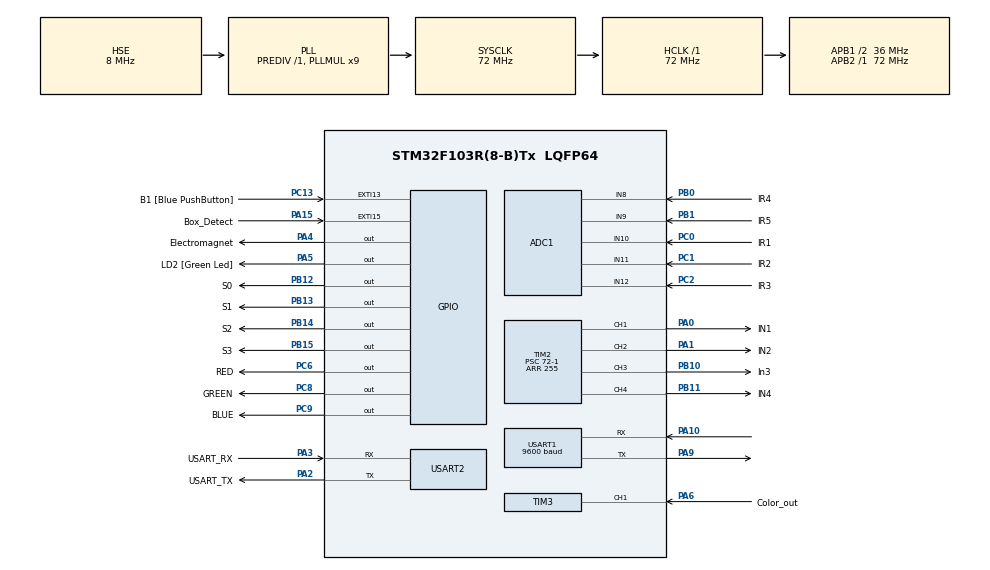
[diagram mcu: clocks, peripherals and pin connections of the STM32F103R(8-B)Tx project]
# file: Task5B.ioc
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ADC1.Channel-0\#ChannelRegularConversion=ADC_CHANNEL_12
ADC1.Channel-1\#ChannelRegularConversion=ADC_CHANNEL_11
ADC1.Channel-2\#ChannelRegularConversion=ADC_CHANNEL_10
ADC1.Channel-3\#ChannelRegularConversion=ADC_CHANNEL_8
ADC1.Channel-4\#ChannelRegularConversion=ADC_CHANNEL_9
ADC1.ContinuousConvMode=ENABLE
ADC1.NbrOfConversion=5
ADC1.NbrOfConversionFlag=1
ADC1.Rank-0\#ChannelRegularConversion=1
ADC1.Rank-1\#ChannelRegularConversion=2
ADC1.Rank-2\#ChannelRegularConversion=3
ADC1.Rank-3\#ChannelRegularConversion=4
ADC1.Rank-4\#ChannelRegularConversion=5
ADC1.SamplingTime-0\#ChannelRegularConversion=ADC_SAMPLETIME_55CYCLES_5
ADC1.SamplingTime-1\#ChannelRegularConversion=ADC_SAMPLETIME_55CYCLES_5
ADC1.SamplingTime-2\#ChannelRegularConversion=ADC_SAMPLETIME_55CYCLES_5
ADC1.SamplingTime-3\#ChannelRegularConversion=ADC_SAMPLETIME_55CYCLES_5
ADC1.SamplingTime-4\#ChannelRegularConversion=ADC_SAMPLETIME_55CYCLES_5
ADC1.master=1
Dma.ADC1.0.Direction=DMA_PERIPH_TO_MEMORY
Dma.ADC1.0.Instance=DMA1_Channel1
Dma.ADC1.0.MemDataAlignment=DMA_MDATAALIGN_HALFWORD
Dma.ADC1.0.MemInc=DMA_MINC_ENABLE
Dma.ADC1.0.Mode=DMA_CIRCULAR
Dma.ADC1.0.PeriphDataAlignment=DMA_PDATAALIGN_HALFWORD
Dma.ADC1.0.PeriphInc=DMA_PINC_DISABLE
Dma.ADC1.0.Priority=DMA_PRIORITY_LOW
Dma.Request0=ADC1
Mcu.Family=STM32F1
Mcu.Name=STM32F103R(8-B)Tx
Mcu.Package=LQFP64
NVIC.ADC1_2_IRQn=true\:0\:0\:false\:false\:true\:true\:true\:true
NVIC.DMA1_Channel1_IRQn=true\:0\:0\:false\:false\:true\:false\:true\:true
NVIC.EXTI15_10_IRQn=true\:1\:0\:true\:false\:true\:true\:true\:true
NVIC.PriorityGroup=NVIC_PRIORITYGROUP_4
NVIC.TIM3_IRQn=true\:0\:0\:false\:false\:true\:true\:true\:true
NVIC.USART1_IRQn=true\:1\:0\:true\:false\:true\:true\:true\:true
PA0-WKUP.GPIO_Label=IN1
PA0-WKUP.Signal=S_TIM2_CH1_ETR
PA1.GPIO_Label=IN2
PA1.Signal=S_TIM2_CH2
PA10.Mode=Asynchronous
PA10.Signal=USART1_RX
PA13.GPIO_Label=TMS
PA13.Mode=Serial_Wire
PA13.Signal=SYS_JTMS-SWDIO
PA14.GPIO_Label=TCK
PA14.Mode=Serial_Wire
PA14.Signal=SYS_JTCK-SWCLK
PA15.GPIO_Label=Box_Detect
PA15.GPIO_ModeDefaultEXTI=GPIO_MODE_IT_FALLING
PA15.Signal=GPXTI15
PA2.GPIO_Label=USART_TX
PA2.GPIO_Mode=GPIO_MODE_AF_PP
PA2.GPIO_PuPd=GPIO_NOPULL
PA2.GPIO_Speed=GPIO_SPEED_FREQ_LOW
PA2.Mode=Asynchronous
PA2.Signal=USART2_TX
PA3.GPIO_Label=USART_RX
PA3.GPIO_Mode=GPIO_MODE_AF_PP
PA3.GPIO_PuPd=GPIO_NOPULL
PA3.GPIO_Speed=GPIO_SPEED_FREQ_LOW
PA3.Mode=Asynchronous
PA3.Signal=USART2_RX
PA4.GPIO_Label=Electromagnet
PA4.Signal=GPIO_Output
PA5.GPIO_Label=LD2 [Green Led]
PA5.GPIO_ModeDefaultOutputPP=GPIO_MODE_OUTPUT_PP
PA5.GPIO_PuPd=GPIO_NOPULL
PA5.GPIO_Speed=GPIO_SPEED_FREQ_LOW
PA5.Signal=GPIO_Output
PA6.GPIO_Label=Color_out
PA6.Signal=S_TIM3_CH1
PA9.Mode=Asynchronous
PA9.Signal=USART1_TX
PB0.GPIO_Label=IR4
PB0.Signal=ADCx_IN8
PB1.GPIO_Label=IR5
PB1.Signal=ADCx_IN9
PB10.GPIO_Label=In3
PB10.Signal=S_TIM2_CH3
PB11.GPIO_Label=IN4
PB11.Signal=S_TIM2_CH4
PB12.GPIO_Label=S0
PB12.Signal=GPIO_Output
PB13.GPIO_Label=S1
PB13.Signal=GPIO_Output
PB14.GPIO_Label=S2
PB14.Signal=GPIO_Output
PB15.GPIO_Label=S3
PB15.Signal=GPIO_Output
PB3.GPIO_Label=SWO
PB3.Signal=SYS_JTDO-TRACESWO
PC0.GPIO_Label=IR1
PC0.Signal=ADCx_IN10
PC1.GPIO_Label=IR2
PC1.Signal=ADCx_IN11
PC13-TAMPER-RTC.GPIO_Label=B1 [Blue PushButton]
PC13-TAMPER-RTC.GPIO_PuPd=GPIO_NOPULL
PC13-TAMPER-RTC.Signal=GPXTI13
PC14-OSC32_IN.Mode=LSE-External-Oscillator
PC14-OSC32_IN.Signal=RCC_OSC32_IN
PC15-OSC32_OUT.Mode=LSE-External-Oscillator
PC15-OSC32_OUT.Signal=RCC_OSC32_OUT
PC2.GPIO_Label=IR3
PC2.Signal=ADCx_IN12
PC6.GPIO_Label=RED
PC6.Signal=GPIO_Output
PC8.GPIO_Label=GREEN
PC8.Signal=GPIO_Output
PC9.GPIO_Label=BLUE
PC9.Signal=GPIO_Output
PD0-OSC_IN.Mode=HSE-External-Clock-Source
PD0-OSC_IN.Signal=RCC_OSC_IN
PD1-OSC_OUT.Mode=HSE-External-Clock-Source
PD1-OSC_OUT.Signal=RCC_OSC_OUT
ProjectManager.HeapSize=0x200
ProjectManager.StackSize=0x400
ProjectManager.TargetToolchain=STM32CubeIDE
RCC.ADCPresc=RCC_ADCPCLK2_DIV6
RCC.AHBFreq_Value=72000000
RCC.APB1CLKDivider=RCC_HCLK_DIV2
RCC.APB1Freq_Value=36000000
RCC.APB1TimFreq_Value=72000000
RCC.APB2Freq_Value=72000000
RCC.APB2TimFreq_Value=72000000
RCC.HCLKFreq_Value=72000000
RCC.PLLMUL=RCC_PLL_MUL9
RCC.PLLSourceVirtual=RCC_PLLSOURCE_HSE
RCC.RTCClockSelection=RCC_RTCCLKSOURCE_LSE
RCC.SYSCLKFreq_VALUE=72000000
RCC.SYSCLKSource=RCC_SYSCLKSOURCE_PLLCLK
RCC.USBFreq_Value=72000000
SH.ADCx_IN10.0=ADC1_IN10,IN10
SH.ADCx_IN11.0=ADC1_IN11,IN11
SH.ADCx_IN12.0=ADC1_IN12,IN12
SH.ADCx_IN8.0=ADC1_IN8,IN8
SH.ADCx_IN9.0=ADC1_IN9,IN9
SH.S_TIM2_CH1_ETR.0=TIM2_CH1,PWM Generation1 CH1
SH.S_TIM2_CH2.0=TIM2_CH2,PWM Generation2 CH2
SH.S_TIM2_CH3.0=TIM2_CH3,PWM Generation3 CH3
SH.S_TIM2_CH4.0=TIM2_CH4,PWM Generation4 CH4
SH.S_TIM3_CH1.0=TIM3_CH1,Input_Capture1_from_TI1
TIM2.Channel-PWM\ Generation1\ CH1=TIM_CHANNEL_1
TIM2.Channel-PWM\ Generation2\ CH2=TIM_CHANNEL_2
TIM2.Channel-PWM\ Generation3\ CH3=TIM_CHANNEL_3
TIM2.Channel-PWM\ Generation4\ CH4=TIM_CHANNEL_4
TIM2.Period=255
TIM2.Prescaler=72-1
TIM3.Channel-Input_Capture1_from_TI1=TIM_CHANNEL_1
USART1.BaudRate=9600
USART1.VirtualMode=VM_ASYNC
USART2.VirtualMode=VM_ASYNC
board=NUCLEO-F103RB

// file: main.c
/* USER CODE BEGIN Header */
/**
  ******************************************************************************
  * @file           : main.c
  * @brief          : Main program body
  ******************************************************************************
  * @attention
  *
  * Copyright (c) 2025 STMicroelectronics.
  * All rights reserved.
  *
  * This software is licensed under terms that can be found in the LICENSE file
  * in the root directory of this software component.
  * If no LICENSE file comes with this software, it is provided AS-IS.
  *
  ******************************************************************************
  */
/* USER CODE END Header */
#include "main.h"

/* USER CODE BEGIN Includes */
#include <stdint.h>
#include <stdio.h>
#include <string.h>
#include <stdbool.h>
#include "Color.h"
#include <stdlib.h>
#include "fsm.h"
#include "movement.h"
/* USER CODE END Includes */

ADC_HandleTypeDef hadc1;
DMA_HandleTypeDef hdma_adc1;

TIM_HandleTypeDef htim2;
TIM_HandleTypeDef htim3;

UART_HandleTypeDef huart1;
UART_HandleTypeDef huart2;

/* USER CODE BEGIN PV */
volatile uint8_t button_trigger = 0;
volatile uint8_t box_detected = 0;
volatile uint8_t box_mask = 0;

/* USER CODE END PV */

void SystemClock_Config(void);
static void MX_GPIO_Init(void);
static void MX_DMA_Init(void);
static void MX_USART2_UART_Init(void);
static void MX_ADC1_Init(void);
static void MX_TIM2_Init(void);
static void MX_TIM3_Init(void);
static void MX_USART1_UART_Init(void);

/* USER CODE BEGIN 0 */
void HAL_GPIO_EXTI_Callback(uint16_t GPIO_Pin){
	if(GPIO_Pin == GPIO_PIN_13){
		button_trigger = 1;
	}
	if (GPIO_Pin == GPIO_PIN_15){
		if(!box_mask){
			box_detected = 1;
			box_mask = 1;
		}
	}
}
/* USER CODE END 0 */

int main(void)
{

  /* MCU Configuration--------------------------------------------------------*/

  /* Reset of all peripherals, Initializes the Flash interface and the Systick. */
  HAL_Init();

  /* Configure the system clock */
  SystemClock_Config();

  /* Initialize all configured peripherals */
  MX_GPIO_Init();
  MX_DMA_Init();
  MX_USART2_UART_Init();
  MX_ADC1_Init();
  MX_TIM2_Init();
  MX_TIM3_Init();
  MX_USART1_UART_Init();
  /* USER CODE BEGIN 2 */
  FSM_Init();				//Initializing FSM
  Color_Init(&htim3);		//Initializing color sensor

  // Starting PWM generation
  HAL_TIM_PWM_Start(&htim2, TIM_CHANNEL_1);   // PA0 = Motor A-1
  HAL_TIM_PWM_Start(&htim2, TIM_CHANNEL_2);   // PA1 = Motor A-2
  HAL_TIM_PWM_Start(&htim2, TIM_CHANNEL_3);   // PB10 = Motor B-1
  HAL_TIM_PWM_Start(&htim2, TIM_CHANNEL_4);   // PB11 = Motor B-2

  // Starting DMA to fill the raw_adc buffer
  HAL_ADC_Start_DMA(&hadc1, (uint32_t*)raw_adc, NUM_SENSORS);
  /* USER CODE END 2 */

  /* Infinite loop */
  while (1)
  {

    /* USER CODE BEGIN 3 */
      FSM_Update();
  }
   /* USER CODE END 3 */
}

void SystemClock_Config(void)
{
  RCC_OscInitTypeDef RCC_OscInitStruct = {0};
  RCC_ClkInitTypeDef RCC_ClkInitStruct = {0};
  RCC_PeriphCLKInitTypeDef PeriphClkInit = {0};

  /** Initializes the RCC Oscillators according to the specified parameters
  * in the RCC_OscInitTypeDef structure.
  */
  RCC_OscInitStruct.OscillatorType = RCC_OSCILLATORTYPE_HSE;
  RCC_OscInitStruct.HSEState = RCC_HSE_BYPASS;
  RCC_OscInitStruct.HSEPredivValue = RCC_HSE_PREDIV_DIV1;
  RCC_OscInitStruct.HSIState = RCC_HSI_ON;
  RCC_OscInitStruct.PLL.PLLState = RCC_PLL_ON;
  RCC_OscInitStruct.PLL.PLLSource = RCC_PLLSOURCE_HSE;
  RCC_OscInitStruct.PLL.PLLMUL = RCC_PLL_MUL9;
  if (HAL_RCC_OscConfig(&RCC_OscInitStruct) != HAL_OK)
  {
    Error_Handler();
  }

  /** Initializes the CPU, AHB and APB buses clocks
  */
  RCC_ClkInitStruct.ClockType = RCC_CLOCKTYPE_HCLK|RCC_CLOCKTYPE_SYSCLK
                              |RCC_CLOCKTYPE_PCLK1|RCC_CLOCKTYPE_PCLK2;
  RCC_ClkInitStruct.SYSCLKSource = RCC_SYSCLKSOURCE_PLLCLK;
  RCC_ClkInitStruct.AHBCLKDivider = RCC_SYSCLK_DIV1;
  RCC_ClkInitStruct.APB1CLKDivider = RCC_HCLK_DIV2;
  RCC_ClkInitStruct.APB2CLKDivider = RCC_HCLK_DIV1;

  if (HAL_RCC_ClockConfig(&RCC_ClkInitStruct, FLASH_LATENCY_2) != HAL_OK)
  {
    Error_Handler();
  }
  PeriphClkInit.PeriphClockSelection = RCC_PERIPHCLK_ADC;
  PeriphClkInit.AdcClockSelection = RCC_ADCPCLK2_DIV6;
  if (HAL_RCCEx_PeriphCLKConfig(&PeriphClkInit) != HAL_OK)
  {
    Error_Handler();
  }
}

static void MX_ADC1_Init(void)
{

  ADC_ChannelConfTypeDef sConfig = {0};

  /** Common config
  */
  hadc1.Instance = ADC1;
  hadc1.Init.ScanConvMode = ADC_SCAN_ENABLE;
  hadc1.Init.ContinuousConvMode = ENABLE;
  hadc1.Init.DiscontinuousConvMode = DISABLE;
  hadc1.Init.ExternalTrigConv = ADC_SOFTWARE_START;
  hadc1.Init.DataAlign = ADC_DATAALIGN_RIGHT;
  hadc1.Init.NbrOfConversion = 5;
  if (HAL_ADC_Init(&hadc1) != HAL_OK)
  {
    Error_Handler();
  }

  /** Configure Regular Channel
  */
  sConfig.Channel = ADC_CHANNEL_10;
  sConfig.Rank = ADC_REGULAR_RANK_1;
  sConfig.SamplingTime = ADC_SAMPLETIME_55CYCLES_5;
  if (HAL_ADC_ConfigChannel(&hadc1, &sConfig) != HAL_OK)
  {
    Error_Handler();
  }

  /** Configure Regular Channel
  */
  sConfig.Channel = ADC_CHANNEL_11;
  sConfig.Rank = ADC_REGULAR_RANK_2;
  if (HAL_ADC_ConfigChannel(&hadc1, &sConfig) != HAL_OK)
  {
    Error_Handler();
  }

  /** Configure Regular Channel
  */
  sConfig.Channel = ADC_CHANNEL_12;
  sConfig.Rank = ADC_REGULAR_RANK_3;
  if (HAL_ADC_ConfigChannel(&hadc1, &sConfig) != HAL_OK)
  {
    Error_Handler();
  }

  /** Configure Regular Channel
  */
  sConfig.Channel = ADC_CHANNEL_8;
  sConfig.Rank = ADC_REGULAR_RANK_4;
  if (HAL_ADC_ConfigChannel(&hadc1, &sConfig) != HAL_OK)
  {
    Error_Handler();
  }

  /** Configure Regular Channel
  */
  sConfig.Channel = ADC_CHANNEL_9;
  sConfig.Rank = ADC_REGULAR_RANK_5;
  if (HAL_ADC_ConfigChannel(&hadc1, &sConfig) != HAL_OK)
  {
    Error_Handler();
  }

}

static void MX_TIM2_Init(void)
{

  TIM_MasterConfigTypeDef sMasterConfig = {0};
  TIM_OC_InitTypeDef sConfigOC = {0};

  htim2.Instance = TIM2;
  htim2.Init.Prescaler = 72-1;
  htim2.Init.CounterMode = TIM_COUNTERMODE_UP;
  htim2.Init.Period = 255;
  htim2.Init.ClockDivision = TIM_CLOCKDIVISION_DIV1;
  htim2.Init.AutoReloadPreload = TIM_AUTORELOAD_PRELOAD_DISABLE;
  if (HAL_TIM_PWM_Init(&htim2) != HAL_OK)
  {
    Error_Handler();
  }
  sMasterConfig.MasterOutputTrigger = TIM_TRGO_RESET;
  sMasterConfig.MasterSlaveMode = TIM_MASTERSLAVEMODE_DISABLE;
  if (HAL_TIMEx_MasterConfigSynchronization(&htim2, &sMasterConfig) != HAL_OK)
  {
    Error_Handler();
  }
  sConfigOC.OCMode = TIM_OCMODE_PWM1;
  sConfigOC.Pulse = 0;
  sConfigOC.OCPolarity = TIM_OCPOLARITY_HIGH;
  sConfigOC.OCFastMode = TIM_OCFAST_DISABLE;
  if (HAL_TIM_PWM_ConfigChannel(&htim2, &sConfigOC, TIM_CHANNEL_1) != HAL_OK)
  {
    Error_Handler();
  }
  if (HAL_TIM_PWM_ConfigChannel(&htim2, &sConfigOC, TIM_CHANNEL_2) != HAL_OK)
  {
    Error_Handler();
  }
  if (HAL_TIM_PWM_ConfigChannel(&htim2, &sConfigOC, TIM_CHANNEL_3) != HAL_OK)
  {
    Error_Handler();
  }
  if (HAL_TIM_PWM_ConfigChannel(&htim2, &sConfigOC, TIM_CHANNEL_4) != HAL_OK)
  {
    Error_Handler();
  }
  HAL_TIM_MspPostInit(&htim2);

}

static void MX_TIM3_Init(void)
{

  TIM_MasterConfigTypeDef sMasterConfig = {0};
  TIM_IC_InitTypeDef sConfigIC = {0};

  htim3.Instance = TIM3;
  htim3.Init.Prescaler = 0;
  htim3.Init.CounterMode = TIM_COUNTERMODE_UP;
  htim3.Init.Period = 65535;
  htim3.Init.ClockDivision = TIM_CLOCKDIVISION_DIV1;
  htim3.Init.AutoReloadPreload = TIM_AUTORELOAD_PRELOAD_DISABLE;
  if (HAL_TIM_IC_Init(&htim3) != HAL_OK)
  {
    Error_Handler();
  }
  sMasterConfig.MasterOutputTrigger = TIM_TRGO_RESET;
  sMasterConfig.MasterSlaveMode = TIM_MASTERSLAVEMODE_DISABLE;
  if (HAL_TIMEx_MasterConfigSynchronization(&htim3, &sMasterConfig) != HAL_OK)
  {
    Error_Handler();
  }
  sConfigIC.ICPolarity = TIM_INPUTCHANNELPOLARITY_RISING;
  sConfigIC.ICSelection = TIM_ICSELECTION_DIRECTTI;
  sConfigIC.ICPrescaler = TIM_ICPSC_DIV1;
  sConfigIC.ICFilter = 0;
  if (HAL_TIM_IC_ConfigChannel(&htim3, &sConfigIC, TIM_CHANNEL_1) != HAL_OK)
  {
    Error_Handler();
  }

}

static void MX_USART1_UART_Init(void)
{

  huart1.Instance = USART1;
  huart1.Init.BaudRate = 9600;
  huart1.Init.WordLength = UART_WORDLENGTH_8B;
  huart1.Init.StopBits = UART_STOPBITS_1;
  huart1.Init.Parity = UART_PARITY_NONE;
  huart1.Init.Mode = UART_MODE_TX_RX;
  huart1.Init.HwFlowCtl = UART_HWCONTROL_NONE;
  huart1.Init.OverSampling = UART_OVERSAMPLING_16;
  if (HAL_UART_Init(&huart1) != HAL_OK)
  {
    Error_Handler();
  }

}

static void MX_USART2_UART_Init(void)
{

  huart2.Instance = USART2;
  huart2.Init.BaudRate = 115200;
  huart2.Init.WordLength = UART_WORDLENGTH_8B;
  huart2.Init.StopBits = UART_STOPBITS_1;
  huart2.Init.Parity = UART_PARITY_NONE;
  huart2.Init.Mode = UART_MODE_TX_RX;
  huart2.Init.HwFlowCtl = UART_HWCONTROL_NONE;
  huart2.Init.OverSampling = UART_OVERSAMPLING_16;
  if (HAL_UART_Init(&huart2) != HAL_OK)
  {
    Error_Handler();
  }

}

static void MX_DMA_Init(void)
{

  /* DMA controller clock enable */
  __HAL_RCC_DMA1_CLK_ENABLE();

  /* DMA interrupt init */
  /* DMA1_Channel1_IRQn interrupt configuration */
  HAL_NVIC_SetPriority(DMA1_Channel1_IRQn, 0, 0);
  HAL_NVIC_EnableIRQ(DMA1_Channel1_IRQn);

}

static void MX_GPIO_Init(void)
{
  GPIO_InitTypeDef GPIO_InitStruct = {0};

  /* GPIO Ports Clock Enable */
  __HAL_RCC_GPIOC_CLK_ENABLE();
  __HAL_RCC_GPIOD_CLK_ENABLE();
  __HAL_RCC_GPIOA_CLK_ENABLE();
  __HAL_RCC_GPIOB_CLK_ENABLE();

  /*Configure GPIO pin Output Level */
  HAL_GPIO_WritePin(GPIOA, Electromagnet_Pin|LD2_Pin, GPIO_PIN_RESET);

  /*Configure GPIO pin Output Level */
  HAL_GPIO_WritePin(GPIOB, S0_Pin|S1_Pin|S2_Pin|S3_Pin, GPIO_PIN_RESET);

  /*Configure GPIO pin Output Level */
  HAL_GPIO_WritePin(GPIOC, RED_Pin|GREEN_Pin|BLUE_Pin, GPIO_PIN_RESET);

  /*Configure GPIO pin : B1_Pin */
  GPIO_InitStruct.Pin = B1_Pin;
  GPIO_InitStruct.Mode = GPIO_MODE_IT_RISING;
  GPIO_InitStruct.Pull = GPIO_NOPULL;
  HAL_GPIO_Init(B1_GPIO_Port, &GPIO_InitStruct);

  /*Configure GPIO pins : Electromagnet_Pin LD2_Pin */
  GPIO_InitStruct.Pin = Electromagnet_Pin|LD2_Pin;
  GPIO_InitStruct.Mode = GPIO_MODE_OUTPUT_PP;
  GPIO_InitStruct.Pull = GPIO_NOPULL;
  GPIO_InitStruct.Speed = GPIO_SPEED_FREQ_LOW;
  HAL_GPIO_Init(GPIOA, &GPIO_InitStruct);

  /*Configure GPIO pins : S0_Pin S1_Pin S2_Pin S3_Pin */
  GPIO_InitStruct.Pin = S0_Pin|S1_Pin|S2_Pin|S3_Pin;
  GPIO_InitStruct.Mode = GPIO_MODE_OUTPUT_PP;
  GPIO_InitStruct.Pull = GPIO_NOPULL;
  GPIO_InitStruct.Speed = GPIO_SPEED_FREQ_LOW;
  HAL_GPIO_Init(GPIOB, &GPIO_InitStruct);

  /*Configure GPIO pins : RED_Pin GREEN_Pin BLUE_Pin */
  GPIO_InitStruct.Pin = RED_Pin|GREEN_Pin|BLUE_Pin;
  GPIO_InitStruct.Mode = GPIO_MODE_OUTPUT_PP;
  GPIO_InitStruct.Pull = GPIO_NOPULL;
  GPIO_InitStruct.Speed = GPIO_SPEED_FREQ_LOW;
  HAL_GPIO_Init(GPIOC, &GPIO_InitStruct);

  /*Configure GPIO pin : Box_Detect_Pin */
  GPIO_InitStruct.Pin = Box_Detect_Pin;
  GPIO_InitStruct.Mode = GPIO_MODE_IT_FALLING;
  GPIO_InitStruct.Pull = GPIO_NOPULL;
  HAL_GPIO_Init(Box_Detect_GPIO_Port, &GPIO_InitStruct);

  /* EXTI interrupt init*/
  HAL_NVIC_SetPriority(EXTI15_10_IRQn, 1, 0);
  HAL_NVIC_EnableIRQ(EXTI15_10_IRQn);

}

void Error_Handler(void)
{
  __disable_irq();
  while (1)
  {
  }
}
